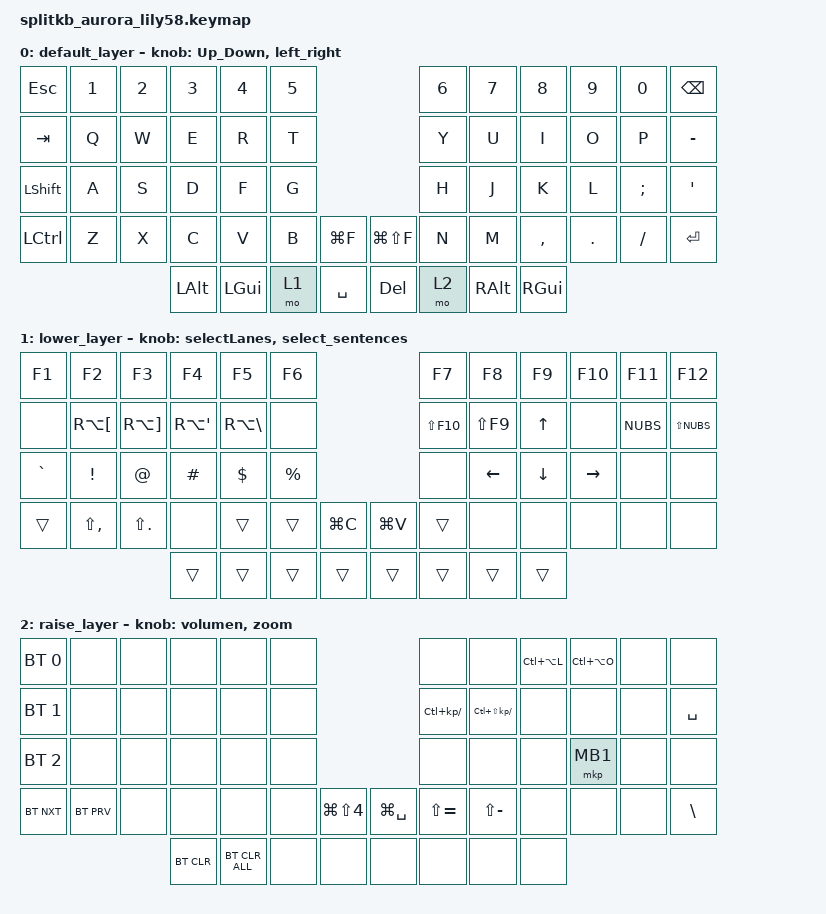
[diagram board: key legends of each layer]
/*
 * Copyright (c) 2022 The ZMK Contributors
 *
 * SPDX-License-Identifier: MIT
 */

#include <dt-bindings/zmk/mouse.h>
#include <behaviors.dtsi>
#include <dt-bindings/zmk/bt.h>
#include <dt-bindings/zmk/keys.h>
#include <dt-bindings/zmk/pointing.h>

/ {
    behaviors {
        volumen: volumen {
            compatible = "zmk,behavior-sensor-rotate";
            label = "VOLUMEN";
            #sensor-binding-cells = <0>;
            bindings = <&kp C_VOLUME_UP>, <&kp C_VOLUME_DOWN>;

            tap-ms = <1>;
        };

        selectLanes: selectLanes {
            compatible = "zmk,behavior-sensor-rotate";
            label = "SELECTLANES";
            #sensor-binding-cells = <0>;
            bindings = <&kp LS(RC(RIGHT_ARROW))>, <&kp LS(LEFT_ARROW)>;

            tap-ms = <1>;
        };

        Up_Down: Up_Down {
            compatible = "zmk,behavior-sensor-rotate";
            label = "UP_DOWN";
            #sensor-binding-cells = <0>;
            bindings = <&kp DOWN_ARROW>, <&kp UP_ARROW>;
        };

        zoom: zoom {
            compatible = "zmk,behavior-sensor-rotate";
            label = "ZOOM";
            #sensor-binding-cells = <0>;
            bindings = <&kp LC(C_AC_SCROLL_UP)>, <&kp LC(C_AC_SCROLL_DOWN)>;
        };

        left_right: left_right {
            compatible = "zmk,behavior-sensor-rotate";
            label = "LEFT_RIGHT";
            #sensor-binding-cells = <0>;
            bindings = <&kp RIGHT>, <&kp LEFT>;
        };

        select_sentences: select_sentences {
            compatible = "zmk,behavior-sensor-rotate";
            label = "SELECT_SENTENCES";
            #sensor-binding-cells = <0>;
            bindings = <&kp LS(DOWN_ARROW)>, <&kp LS(UP_ARROW)>;

            tap-ms = <1>;
        };
    };

    keymap {
        compatible = "zmk,keymap";

        default_layer {
            // ------------------------------------------------------------------------------------------------------------
            // |  ESC  |  1  |  2  |  3   |  4   |  5   |                   |  6   |  7    |  8    |  9   |   0   |   `   |
            // |  TAB  |  Q  |  W  |  E   |  R   |  T   |                   |  Y   |  U    |  I    |  O   |   P   |   -   |
            // |  CTRL |  A  |  S  |  D   |  F   |  G   |                   |  H   |  J    |  K    |  L   |   ;   |   '   |
            // | SHIFT |  Z  |  X  |  C   |  V   |  B   |   "["  |  |  "]"  |  N   |  M    |  ,    |  .   |   /   | SHIFT |
            //                     | ALT  | GUI  | LOWER|  SPACE |  | ENTER | RAISE| BSPC  | GUI   |

            bindings = <
&kp ESC           &kp N1  &kp N2  &kp N3    &kp N4    &kp N5                              &kp N6  &kp N7         &kp N8     &kp N9   &kp N0    &kp BACKSPACE
&kp TAB           &kp Q   &kp W   &kp E     &kp R     &kp T                               &kp Y   &kp U          &kp I      &kp O    &kp P     &kp MINUS
&kp LEFT_SHIFT    &kp A   &kp S   &kp D     &kp F     &kp G                               &kp H   &kp J          &kp K      &kp L    &kp SEMI  &kp SQT
&kp LEFT_CONTROL  &kp Z   &kp X   &kp C     &kp V     &kp B   &kp LG(F)    &kp LG(LS(F))  &kp N   &kp M          &kp COMMA  &kp DOT  &kp FSLH  &kp ENTER
                                  &kp LALT  &kp LGUI  &mo 1   &kp SPACE    &kp DELETE     &mo 2   &kp RIGHT_ALT  &kp RGUI
            >;

            sensor-bindings = <&Up_Down>, <&left_right>;
        };

        lower_layer {
            // ------------------------------------------------------------------------------------------------------------
            // | BTCLR | BT1 | BT2 |  BT3 |  BT4 |  BT5 |                   |      |       |       |      |       |       |
            // |  F1   |  F2 |  F3 |  F4  |  F5  |  F6  |                   |  F7  |  F8   |  F9   |  F10 |  F11  |  F12  |
            // |   `   |  !  |  @  |  #   |  $   |  %   |                   |  ^   |  &    |  *    |  (   |   )   |   ~   |
            // |       |     |     |      |      |      |        |  |       |      |  _    |  +    |  {   |   }   |  "|"  |
            //                     |      |      |      |        |  |       |      |       |       |

            bindings = <
&kp F1     &kp F2                &kp F3                 &kp F4        &kp F5             &kp F6                             &kp F7       &kp F8      &kp F9        &kp F10    &kp F11   &kp F12
&none      &kp RA(LEFT_BRACKET)  &kp RA(RIGHT_BRACKET)  &kp RA(APOS)  &kp RA(BACKSLASH)  &none                              &kp LS(F10)  &kp LS(F9)  &kp UP_ARROW  &none      &kp NUBS  &kp LS(NUBS)
&kp GRAVE  &kp EXCL              &kp AT                 &kp HASH      &kp DOLLAR         &kp PRCNT                          &none        &kp LEFT    &kp DOWN      &kp RIGHT  &none     &none
&trans     &kp LS(COMMA)         &kp LS(DOT)            &none         &trans             &trans     &kp LG(C)    &kp LG(V)  &trans       &none       &none         &none      &none     &none
                                                        &trans        &trans             &trans     &trans       &trans     &trans       &trans      &trans
            >;

            sensor-bindings = <&selectLanes>, <&select_sentences>;
        };

        raise_layer {
            // ------------------------------------------------------------------------------------------------------------
            // |       |     |     |      |      |      |                   |      |       |       |      |       |       |
            // |   `   |  1  |  2  |  3   |  4   |  5   |                   |  6   |   7   |   8   |  9   |   0   |       |
            // |   F1  |  F2 |  F3 |  F4  |  F5  |  F6  |                   |      |   <-  |   v   |  ^   |  ->   |       |
            // |   F7  |  F8 |  F9 |  F10 |  F11 |  F12 |        |  |       |  +   |   -   |   =   |  [   |   ]   |   \   |
            //                     |      |      |      |        |  |       |      |       |       |

            bindings = <
&bt BT_SEL 0  &none       &none  &none       &none           &none                                   &none              &none                  &kp LC(LA(L))  &kp LC(LA(O))  &none  &none
&bt BT_SEL 1  &none       &none  &none       &none           &none                                   &kp LC(KP_DIVIDE)  &kp LC(LS(KP_DIVIDE))  &none          &none          &none  &kp SPACE
&bt BT_SEL 2  &none       &none  &none       &none           &none                                   &none              &none                  &none          &mkp MB1       &none  &none
&bt BT_NXT    &bt BT_PRV  &none  &none       &none           &none  &kp LG(LS(N4))    &kp LG(SPACE)  &kp LS(EQUAL)      &kp LS(MINUS)          &none          &none          &none  &kp BSLH
                                 &bt BT_CLR  &bt BT_CLR_ALL  &none  &none             &none          &none              &none                  &none
            >;

            sensor-bindings = <&volumen>, <&zoom>;
        };
    };
};
